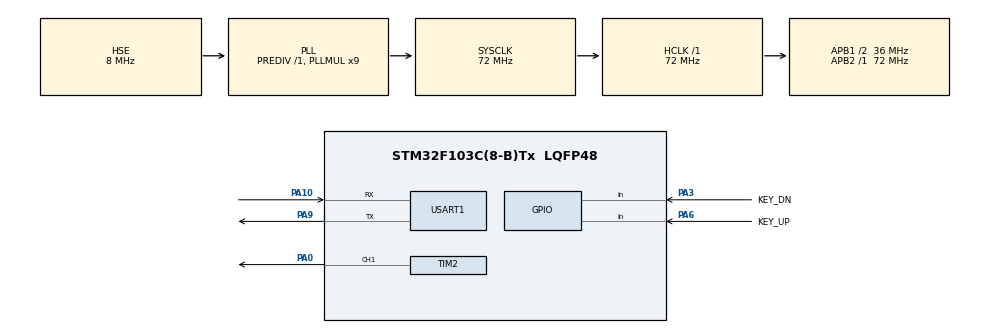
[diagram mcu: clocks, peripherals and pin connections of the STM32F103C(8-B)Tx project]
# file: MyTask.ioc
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Dma.Request0=USART1_TX
Dma.USART1_TX.0.Direction=DMA_MEMORY_TO_PERIPH
Dma.USART1_TX.0.Instance=DMA1_Channel4
Dma.USART1_TX.0.MemDataAlignment=DMA_MDATAALIGN_BYTE
Dma.USART1_TX.0.MemInc=DMA_MINC_ENABLE
Dma.USART1_TX.0.Mode=DMA_NORMAL
Dma.USART1_TX.0.PeriphDataAlignment=DMA_PDATAALIGN_BYTE
Dma.USART1_TX.0.PeriphInc=DMA_PINC_DISABLE
Dma.USART1_TX.0.Priority=DMA_PRIORITY_HIGH
Mcu.Family=STM32F1
Mcu.Name=STM32F103C(8-B)Tx
Mcu.Package=LQFP48
NVIC.DMA1_Channel4_IRQn=true\:0\:0\:false\:false\:true\:false\:true\:true
NVIC.PriorityGroup=NVIC_PRIORITYGROUP_4
NVIC.USART1_IRQn=true\:0\:0\:false\:false\:true\:false\:true\:true
PA0-WKUP.Signal=S_TIM2_CH1_ETR
PA10.Mode=Asynchronous
PA10.Signal=USART1_RX
PA13.Mode=Serial_Wire
PA13.Signal=SYS_JTMS-SWDIO
PA14.Mode=Serial_Wire
PA14.Signal=SYS_JTCK-SWCLK
PA3.GPIO_Label=KEY_DN
PA3.GPIO_PuPd=GPIO_PULLUP
PA3.Signal=GPIO_Input
PA6.GPIO_Label=KEY_UP
PA6.GPIO_PuPd=GPIO_PULLUP
PA6.Signal=GPIO_Input
PA9.Mode=Asynchronous
PA9.Signal=USART1_TX
PB8.Signal=I2C1_SCL
PB9.Signal=I2C1_SDA
PD0-OSC_IN.Mode=HSE-External-Oscillator
PD0-OSC_IN.Signal=RCC_OSC_IN
PD1-OSC_OUT.Mode=HSE-External-Oscillator
PD1-OSC_OUT.Signal=RCC_OSC_OUT
ProjectManager.HeapSize=0x200
ProjectManager.StackSize=0x400
ProjectManager.TargetToolchain=STM32CubeIDE
RCC.AHBFreq_Value=72000000
RCC.APB1CLKDivider=RCC_HCLK_DIV2
RCC.APB1Freq_Value=36000000
RCC.APB1TimFreq_Value=72000000
RCC.APB2Freq_Value=72000000
RCC.APB2TimFreq_Value=72000000
RCC.HCLKFreq_Value=72000000
RCC.PLLMUL=RCC_PLL_MUL9
RCC.PLLSourceVirtual=RCC_PLLSOURCE_HSE
RCC.SYSCLKFreq_VALUE=72000000
RCC.SYSCLKSource=RCC_SYSCLKSOURCE_PLLCLK
RCC.USBFreq_Value=72000000
SH.S_TIM2_CH1_ETR.0=TIM2_CH1,PWM Generation1 CH1
TIM2.AutoReloadPreload=TIM_AUTORELOAD_PRELOAD_ENABLE
TIM2.Channel-PWM\ Generation1\ CH1=TIM_CHANNEL_1
TIM2.Period=20000- 1
TIM2.Prescaler=72 -1
TIM2.Pulse-PWM\ Generation1\ CH1=1500
USART1.VirtualMode=VM_ASYNC
VP_TIM2_VS_ClockSourceINT.Mode=Internal
board=custom

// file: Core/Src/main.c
/* USER CODE BEGIN Header */
/**
  ******************************************************************************
  * @file           : main.c
  * @brief          : Main program body
  ******************************************************************************
  * @attention
  *
  * Copyright (c) 2026 STMicroelectronics.
  * All rights reserved.
  *
  * This software is licensed under terms that can be found in the LICENSE file
  * in the root directory of this software component.
  * If no LICENSE file comes with this software, it is provided AS-IS.
  *
  ******************************************************************************
  */
/* USER CODE END Header */
#include "main.h"
#include "dma.h"
#include "tim.h"
#include "usart.h"
#include "gpio.h"

/* USER CODE BEGIN Includes */
#include <stdio.h>
#include "OLED.h"
#include "Servo.h"
/* USER CODE END Includes */

/* USER CODE BEGIN PD */
#define SEQ_LEN    5
#define STEP_MS    1000
#define KEY_STEP   15
#define DEBOUNCE   20
/* USER CODE END PD */

/* USER CODE BEGIN PV */
static const uint8_t  seq[SEQ_LEN] = {0, 45, 90, 135, 180};

static uint16_t curAngle = 0;
static uint8_t  idx      = 0;
static uint8_t  autoRun  = 1;
static uint32_t lastTick = 0;
/* USER CODE END PV */

void SystemClock_Config(void);
/* USER CODE BEGIN PFP */
static uint8_t  Key_Scan(void);
static void    ShowStatus(void);
static void    SetAngle(uint16_t angle);
/* USER CODE END PFP */

/* USER CODE BEGIN 0 */
int _write(int fd, char *ptr, int len)
{
  uint32_t tickstart;

  if (HAL_UART_Transmit_DMA(&huart1, (uint8_t *)ptr, (uint16_t)len) != HAL_OK)
  {
    return 0;
  }

  tickstart = HAL_GetTick();
  while (HAL_UART_GetState(&huart1) == HAL_UART_STATE_BUSY_TX)
  {
    if ((HAL_GetTick() - tickstart) > 100) break;
  }

  return len;
}
/* USER CODE END 0 */

int main(void)
{

  /* MCU Configuration--------------------------------------------------------*/

  /* Reset of all peripherals, Initializes the Flash interface and the Systick. */
  HAL_Init();

  /* Configure the system clock */
  SystemClock_Config();

  /* Initialize all configured peripherals */
  MX_GPIO_Init();
  MX_DMA_Init();
  MX_TIM2_Init();
  MX_USART1_UART_Init();
  /* USER CODE BEGIN 2 */
  setvbuf(stdout, NULL, _IONBF, 0);

  OLED_Init();
  Servo_Init();
  SetAngle(seq[0]);
  lastTick = HAL_GetTick();
  /* USER CODE END 2 */

  /* Infinite loop */
  while (1)
  {

    /* USER CODE BEGIN 3 */
    uint8_t key = Key_Scan();

    if (key == 1)
    {
      autoRun = 0;
      curAngle += KEY_STEP;
      if (curAngle > 180) curAngle = 180;
      SetAngle(curAngle);
    }
    else if (key == 2)
    {
      autoRun = 0;
      if (curAngle >= KEY_STEP) curAngle -= KEY_STEP;
      else curAngle = 0;
      SetAngle(curAngle);
    }

    if (autoRun && (HAL_GetTick() - lastTick >= STEP_MS))
    {
      lastTick = HAL_GetTick();
      idx      = (uint8_t)((idx + 1) % SEQ_LEN);
      SetAngle(seq[idx]);
    }
  }
  /* USER CODE END 3 */
}

void SystemClock_Config(void)
{
  RCC_OscInitTypeDef RCC_OscInitStruct = {0};
  RCC_ClkInitTypeDef RCC_ClkInitStruct = {0};

  /** Initializes the RCC Oscillators according to the specified parameters
  * in the RCC_OscInitTypeDef structure.
  */
  RCC_OscInitStruct.OscillatorType = RCC_OSCILLATORTYPE_HSE;
  RCC_OscInitStruct.HSEState = RCC_HSE_ON;
  RCC_OscInitStruct.HSEPredivValue = RCC_HSE_PREDIV_DIV1;
  RCC_OscInitStruct.HSIState = RCC_HSI_ON;
  RCC_OscInitStruct.PLL.PLLState = RCC_PLL_ON;
  RCC_OscInitStruct.PLL.PLLSource = RCC_PLLSOURCE_HSE;
  RCC_OscInitStruct.PLL.PLLMUL = RCC_PLL_MUL9;
  if (HAL_RCC_OscConfig(&RCC_OscInitStruct) != HAL_OK)
  {
    Error_Handler();
  }

  /** Initializes the CPU, AHB and APB buses clocks
  */
  RCC_ClkInitStruct.ClockType = RCC_CLOCKTYPE_HCLK|RCC_CLOCKTYPE_SYSCLK
                              |RCC_CLOCKTYPE_PCLK1|RCC_CLOCKTYPE_PCLK2;
  RCC_ClkInitStruct.SYSCLKSource = RCC_SYSCLKSOURCE_PLLCLK;
  RCC_ClkInitStruct.AHBCLKDivider = RCC_SYSCLK_DIV1;
  RCC_ClkInitStruct.APB1CLKDivider = RCC_HCLK_DIV2;
  RCC_ClkInitStruct.APB2CLKDivider = RCC_HCLK_DIV1;

  if (HAL_RCC_ClockConfig(&RCC_ClkInitStruct, FLASH_LATENCY_2) != HAL_OK)
  {
    Error_Handler();
  }
}

/* USER CODE BEGIN 4 */

static uint8_t Key_Scan(void)
{
  static uint8_t released = 1;

  if (HAL_GPIO_ReadPin(KEY_UP_GPIO_Port, KEY_UP_Pin) == GPIO_PIN_SET &&
      HAL_GPIO_ReadPin(KEY_DN_GPIO_Port, KEY_DN_Pin) == GPIO_PIN_SET)
  {
    released = 1;
  }

  if (released == 0) return 0;

  if (HAL_GPIO_ReadPin(KEY_UP_GPIO_Port, KEY_UP_Pin) == GPIO_PIN_RESET)
  {
    HAL_Delay(DEBOUNCE);
    if (HAL_GPIO_ReadPin(KEY_UP_GPIO_Port, KEY_UP_Pin) == GPIO_PIN_RESET)
    {
      released = 0;
      return 1;
    }
  }

  if (HAL_GPIO_ReadPin(KEY_DN_GPIO_Port, KEY_DN_Pin) == GPIO_PIN_RESET)
  {
    HAL_Delay(DEBOUNCE);
    if (HAL_GPIO_ReadPin(KEY_DN_GPIO_Port, KEY_DN_Pin) == GPIO_PIN_RESET)
    {
      released = 0;
      return 2;
    }
  }

  return 0;
}

/* 刷新 OLED 三行并打印到串口 */
static void ShowStatus(void)
{
  uint16_t ccr = Servo_GetCCR();

  OLED_ShowString(1, 1,  "Target:");
  OLED_ShowNum   (1, 9,  curAngle, 3);
  OLED_ShowString(1, 12, "deg");

  OLED_ShowString(2, 1,  "CCR   :");
  OLED_ShowNum   (2, 9,  ccr, 4);

  OLED_ShowString(3, 1,  "Pulse :");
  OLED_ShowNum   (3, 9,  ccr / 1000, 1);
  OLED_ShowString(3, 10, ".");
  OLED_ShowNum   (3, 11, ccr % 1000, 3);
  OLED_ShowString(3, 14, "ms");

  printf("Target=%3d  CCR=%4d  Pulse=%d.%03dms\r\n",
         curAngle, ccr, ccr / 1000, ccr % 1000);
}

static void SetAngle(uint16_t angle)
{
  curAngle = angle;
  Servo_SetAngle((float)angle);
  ShowStatus();
}
/* USER CODE END 4 */

void Error_Handler(void)
{
  __disable_irq();
  while (1)
  {
  }
}
